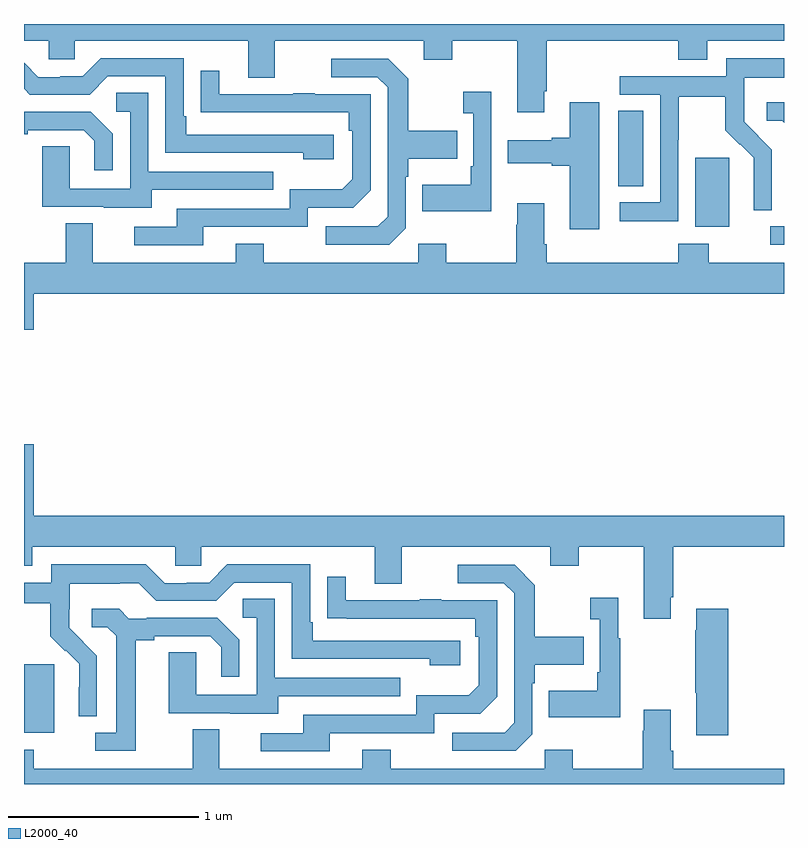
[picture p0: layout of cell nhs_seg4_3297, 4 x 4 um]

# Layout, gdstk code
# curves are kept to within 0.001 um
import gdstk
lib = gdstk.Library(unit=1e-6, precision=1e-09)
def R(c, l, rs):  # rectangles x0, y0, x1, y1
    for r in rs: c.add(gdstk.rectangle(r[:2], r[2:], *l))
def P(c, l, *ps):  # polygons
    for p in ps: c.add(gdstk.Polygon(p, *l))
L2000_40 = (2000, 40)

nhs_seg4_3297 = lib.new_cell('nhs_seg4_3297')
R(nhs_seg4_3297, L2000_40, [(285,801.17,285.16,801.531), (288.927,803.739,289,803.835), (288.533,803.834,288.712,804.195), (288.128,804.046,288.259,804.443)])
P(nhs_seg4_3297, L2000_40, [(285,804.812),(285.129,804.812),(285.129,804.714),(285.267,804.714),(285.267,804.812),(286.181,804.812),(286.181,804.618),(286.321,804.618),(286.321,804.812),(287.105,804.812),(287.105,804.713),(287.253,804.713),(287.253,804.812),(287.597,804.812),(287.597,804.435),(287.737,804.435),(287.737,804.547),(287.75,804.547),(287.75,804.812),(288.443,804.812),(288.443,804.713),(288.595,804.713),(288.595,804.812),(289,804.812),(289,804.9),(285,804.9)],
  [(288.444,804.292),(288.447,804.292),(288.447,804.516),(288.691,804.516),(288.691,804.341),(288.768,804.264),(288.771,804.267),(288.842,804.197),(288.842,804.074),(288.84,804.074),(288.84,803.92),(288.936,803.92),(288.936,804.238),(288.79,804.386),(288.79,804.483),(288.792,804.483),(288.792,804.617),(289,804.617),(289,804.721),(288.696,804.721),(288.696,804.624),(288.135,804.624),(288.135,804.528),(288.348,804.528),(288.348,803.961),(288.135,803.961),(288.135,803.863),(288.444,803.863)],
  [(286.63,804.318),(285.853,804.318),(285.853,804.415),(285.84,804.415),(285.84,804.72),(285.405,804.72),(285.309,804.624),(285.191,804.624),(285.191,804.621),(285.075,804.621),(285,804.696),(285,804.558),(285.03,804.528),(285.345,804.528),(285.441,804.624),(285.744,804.624),(285.744,804.222),(286.469,804.222),(286.469,804.188),(286.63,804.188)],
  [(287.01,803.826),(287.01,804.095),(287.023,804.095),(287.023,804.191),(287.279,804.191),(287.279,804.339),(287.023,804.339),(287.023,804.611),(286.917,804.717),(286.617,804.717),(286.617,804.621),(286.86,804.621),(286.914,804.567),(286.914,803.886),(286.863,803.835),(286.587,803.835),(286.587,803.739),(286.923,803.739)],
  [(285.943,803.832),(286.494,803.832),(286.494,803.934),(286.734,803.934),(286.824,804.024),(286.824,804.531),(286.529,804.531),(286.529,804.536),(286.417,804.536),(286.417,804.531),(286.027,804.531),(286.027,804.655),(285.931,804.655),(285.931,804.436),(286.708,804.435),(286.708,804.338),(286.728,804.338),(286.728,804.084),(286.675,804.031),(286.398,804.031),(286.398,803.928),(285.803,803.928),(285.803,803.832),(285.579,803.832),(285.579,803.736),(285.943,803.736)],
  [(287.46,804.544),(287.313,804.544),(287.313,804.431),(287.364,804.431),(287.364,804.151),(287.352,804.151),(287.352,804.055),(287.095,804.055),(287.095,803.915),(287.46,803.915)],
  [(285.673,804.027),(286.313,804.027),(286.313,804.123),(285.654,804.123),(285.654,804.539),(285.486,804.539),(285.486,804.438),(285.558,804.438),(285.558,804.033),(285.24,804.033),(285.24,804.257),(285.095,804.257),(285.095,803.937),(285.419,803.937),(285.419,803.933),(285.673,803.933)],
  [(289,804.487),(288.909,804.487),(288.909,804.39),(288.99,804.39),(289,804.38)],
  [(288.028,804.487),(287.873,804.487),(287.873,804.302),(287.777,804.302),(287.777,804.289),(287.547,804.289),(287.547,804.167),(287.777,804.167),(287.777,804.155),(287.873,804.155),(287.873,803.82),(288.028,803.82)],
  [(285.468,804.322),(285.352,804.438),(285,804.438),(285,804.32),(285.019,804.32),(285.019,804.342),(285.314,804.342),(285.371,804.285),(285.371,804.129),(285.468,804.129)],
  [(287.597,803.956),(287.597,803.843),(287.59,803.843),(287.59,803.644),(287.223,803.644),(287.223,803.743),(287.076,803.743),(287.076,803.644),(286.263,803.644),(286.263,803.743),(286.115,803.743),(286.115,803.644),(285.361,803.644),(285.361,803.852),(285.221,803.852),(285.221,803.644),(285,803.644),(285,803.292),(285.052,803.292),(285.052,803.48),(289,803.48),(289,803.644),(288.603,803.644),(288.603,803.743),(288.443,803.743),(288.443,803.644),(287.75,803.644),(287.75,803.74),(287.737,803.74),(287.737,803.956)],
  [(288.403,801.883),(288.416,801.883),(288.416,802.148),(289,802.148),(289,802.312),(285.052,802.312),(285.052,802.687),(285,802.687),(285,802.049),(285.043,802.049),(285.043,802.148),(285.795,802.148),(285.795,802.05),(285.933,802.05),(285.933,802.148),(286.847,802.148),(286.847,801.954),(286.987,801.954),(286.987,802.148),(287.771,802.148),(287.771,802.049),(287.919,802.049),(287.919,802.148),(288.263,802.148),(288.263,801.771),(288.403,801.771)],
  [(285.384,801.574),(285.238,801.722),(285.238,801.819),(285.24,801.819),(285.24,801.953),(285.503,801.953),(285.503,801.957),(285.603,801.957),(285.696,801.864),(286.011,801.864),(286.107,801.96),(286.41,801.96),(286.41,801.558),(287.135,801.558),(287.135,801.524),(287.296,801.524),(287.296,801.654),(286.519,801.654),(286.519,801.751),(286.506,801.751),(286.506,802.056),(286.071,802.056),(285.975,801.96),(285.857,801.96),(285.857,801.957),(285.741,801.957),(285.641,802.057),(285.144,802.057),(285.144,801.96),(285,801.96),(285,801.852),(285.139,801.852),(285.139,801.677),(285.216,801.6),(285.219,801.603),(285.29,801.533),(285.29,801.41),(285.288,801.41),(285.288,801.256),(285.384,801.256)],
  [(287.676,801.162),(287.676,801.431),(287.689,801.431),(287.689,801.527),(287.945,801.527),(287.945,801.675),(287.689,801.675),(287.689,801.947),(287.583,802.053),(287.283,802.053),(287.283,801.957),(287.526,801.957),(287.58,801.903),(287.58,801.222),(287.529,801.171),(287.253,801.171),(287.253,801.075),(287.589,801.075)],
  [(286.609,801.168),(287.16,801.168),(287.16,801.27),(287.4,801.27),(287.49,801.36),(287.49,801.867),(287.195,801.867),(287.195,801.872),(287.083,801.872),(287.083,801.867),(286.693,801.867),(286.693,801.991),(286.597,801.991),(286.597,801.772),(287.374,801.771),(287.374,801.674),(287.394,801.674),(287.394,801.42),(287.341,801.367),(287.064,801.367),(287.064,801.264),(286.469,801.264),(286.469,801.168),(286.245,801.168),(286.245,801.072),(286.609,801.072)],
  [(288.139,801.667),(288.127,801.667),(288.127,801.88),(287.979,801.88),(287.979,801.767),(288.03,801.767),(288.03,801.487),(288.018,801.487),(288.018,801.391),(287.761,801.391),(287.761,801.251),(288.139,801.251)],
  [(286.339,801.363),(286.979,801.363),(286.979,801.459),(286.32,801.459),(286.32,801.875),(286.152,801.875),(286.152,801.774),(286.224,801.774),(286.224,801.369),(285.906,801.369),(285.906,801.593),(285.761,801.593),(285.761,801.273),(286.085,801.273),(286.085,801.269),(286.339,801.269)],
  [(285.589,801.656),(285.685,801.656),(285.685,801.678),(285.98,801.678),(286.037,801.621),(286.037,801.465),(286.134,801.465),(286.134,801.658),(286.018,801.774),(285.646,801.774),(285.646,801.771),(285.552,801.771),(285.5,801.823),(285.357,801.823),(285.357,801.726),(285.438,801.726),(285.485,801.679),(285.485,801.171),(285.375,801.171),(285.375,801.075),(285.589,801.075)],
  [(288.707,801.823),(288.539,801.823),(288.539,801.71),(288.532,801.71),(288.532,801.379),(288.539,801.379),(288.539,801.156),(288.707,801.156)],
  [(289,800.98),(288.416,800.98),(288.416,801.076),(288.403,801.076),(288.403,801.292),(288.263,801.292),(288.263,801.179),(288.256,801.179),(288.256,800.98),(287.889,800.98),(287.889,801.079),(287.742,801.079),(287.742,800.98),(286.929,800.98),(286.929,801.079),(286.781,801.079),(286.781,800.98),(286.027,800.98),(286.027,801.188),(285.887,801.188),(285.887,800.98),(285.051,800.98),(285.051,801.079),(285,801.079),(285,800.9),(289,800.9)])

lib.write_gds('nhs_seg4_3297.gds')
